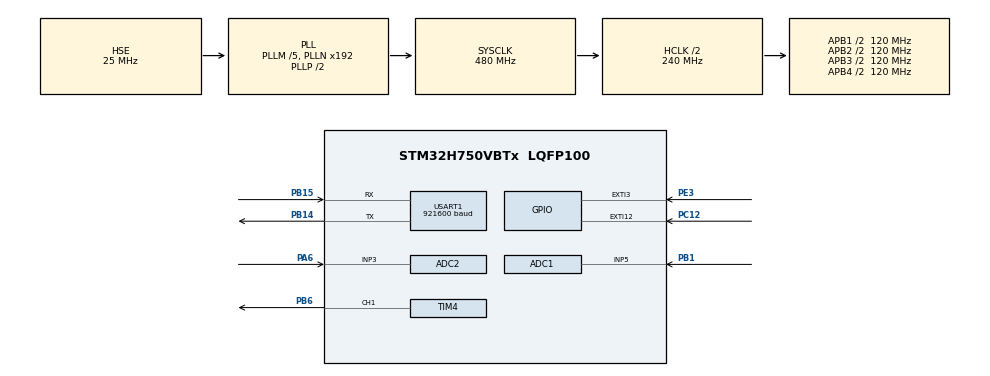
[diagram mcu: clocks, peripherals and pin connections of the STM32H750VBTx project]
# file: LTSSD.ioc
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ADC1.Channel-0\#ChannelRegularConversion=ADC_CHANNEL_5
ADC1.ClockPrescaler=ADC_CLOCK_ASYNC_DIV1
ADC1.ContinuousConvMode=ENABLE
ADC1.ConversionDataManagement=ADC_CONVERSIONDATA_DMA_ONESHOT
ADC1.EOCSelection=ADC_EOC_SEQ_CONV
ADC1.Mode=ADC_MODE_INDEPENDENT
ADC1.NbrOfConversionFlag=1
ADC1.OffsetNumber-0\#ChannelRegularConversion=ADC_OFFSET_NONE
ADC1.OffsetSignedSaturation-0\#ChannelRegularConversion=DISABLE
ADC1.Overrun=ADC_OVR_DATA_OVERWRITTEN
ADC1.Rank-0\#ChannelRegularConversion=1
ADC1.SamplingTime-0\#ChannelRegularConversion=ADC_SAMPLETIME_1CYCLE_5
ADC1.master=1
ADC2.Channel-0\#ChannelRegularConversion=ADC_CHANNEL_3
ADC2.ContinuousConvMode=ENABLE
ADC2.ConversionDataManagement=ADC_CONVERSIONDATA_DMA_ONESHOT
ADC2.NbrOfConversionFlag=1
ADC2.OffsetNumber-0\#ChannelRegularConversion=ADC_OFFSET_NONE
ADC2.OffsetSignedSaturation-0\#ChannelRegularConversion=DISABLE
ADC2.Rank-0\#ChannelRegularConversion=1
ADC2.SamplingTime-0\#ChannelRegularConversion=ADC_SAMPLETIME_1CYCLE_5
Dma.ADC1.0.Direction=DMA_PERIPH_TO_MEMORY
Dma.ADC1.0.EventEnable=DISABLE
Dma.ADC1.0.FIFOMode=DMA_FIFOMODE_DISABLE
Dma.ADC1.0.Instance=DMA1_Stream0
Dma.ADC1.0.MemDataAlignment=DMA_MDATAALIGN_WORD
Dma.ADC1.0.MemInc=DMA_MINC_ENABLE
Dma.ADC1.0.Mode=DMA_NORMAL
Dma.ADC1.0.PeriphDataAlignment=DMA_PDATAALIGN_WORD
Dma.ADC1.0.PeriphInc=DMA_PINC_DISABLE
Dma.ADC1.0.Polarity=HAL_DMAMUX_REQ_GEN_RISING
Dma.ADC1.0.Priority=DMA_PRIORITY_LOW
Dma.ADC1.0.RequestNumber=1
Dma.ADC1.0.SignalID=NONE
Dma.ADC1.0.SyncEnable=DISABLE
Dma.ADC1.0.SyncPolarity=HAL_DMAMUX_SYNC_NO_EVENT
Dma.ADC1.0.SyncRequestNumber=1
Dma.ADC1.0.SyncSignalID=NONE
Dma.ADC2.1.Direction=DMA_PERIPH_TO_MEMORY
Dma.ADC2.1.EventEnable=DISABLE
Dma.ADC2.1.FIFOMode=DMA_FIFOMODE_DISABLE
Dma.ADC2.1.Instance=DMA1_Stream1
Dma.ADC2.1.MemDataAlignment=DMA_MDATAALIGN_WORD
Dma.ADC2.1.MemInc=DMA_MINC_ENABLE
Dma.ADC2.1.Mode=DMA_NORMAL
Dma.ADC2.1.PeriphDataAlignment=DMA_PDATAALIGN_WORD
Dma.ADC2.1.PeriphInc=DMA_PINC_DISABLE
Dma.ADC2.1.Polarity=HAL_DMAMUX_REQ_GEN_RISING
Dma.ADC2.1.Priority=DMA_PRIORITY_LOW
Dma.ADC2.1.RequestNumber=1
Dma.ADC2.1.SignalID=NONE
Dma.ADC2.1.SyncEnable=DISABLE
Dma.ADC2.1.SyncPolarity=HAL_DMAMUX_SYNC_NO_EVENT
Dma.ADC2.1.SyncRequestNumber=1
Dma.ADC2.1.SyncSignalID=NONE
Dma.Request0=ADC1
Dma.Request1=ADC2
LPTIM1.ClockPrescaler=LPTIM_PRESCALER_DIV128
LPTIM2.ClockPrescaler=LPTIM_PRESCALER_DIV128
Mcu.Family=STM32H7
Mcu.Name=STM32H750VBTx
Mcu.Package=LQFP100
NVIC.DMA1_Stream0_IRQn=true\:0\:0\:true\:false\:true\:false\:true
NVIC.DMA1_Stream1_IRQn=true\:0\:0\:false\:false\:true\:false\:true
NVIC.EXTI15_10_IRQn=true\:14\:0\:true\:false\:true\:true\:true
NVIC.EXTI3_IRQn=true\:14\:0\:true\:false\:true\:true\:true
NVIC.LPTIM1_IRQn=true\:10\:0\:true\:false\:true\:true\:true
NVIC.LPTIM2_IRQn=true\:13\:0\:true\:false\:true\:true\:true
NVIC.PriorityGroup=NVIC_PRIORITYGROUP_4
PA6.Signal=ADCx_INP3
PB1.Signal=ADCx_INP5
PB14.Mode=Asynchronous
PB14.Signal=USART1_TX
PB15.Mode=Asynchronous
PB15.Signal=USART1_RX
PB6.Signal=S_TIM4_CH1
PC12.Signal=GPXTI12
PE3.Signal=GPXTI3
PH0-OSC_IN\ (PH0).Mode=HSE-External-Oscillator
PH0-OSC_IN\ (PH0).Signal=RCC_OSC_IN
PH1-OSC_OUT\ (PH1).Mode=HSE-External-Oscillator
PH1-OSC_OUT\ (PH1).Signal=RCC_OSC_OUT
ProjectManager.HeapSize=0x1000
ProjectManager.StackSize=0x20000
ProjectManager.TargetToolchain=MDK-ARM V5
RCC.ADCCLockSelection=RCC_ADCCLKSOURCE_PLL3
RCC.ADCFreq_Value=51200000
RCC.APB1Freq_Value=120000000
RCC.APB2Freq_Value=120000000
RCC.APB3Freq_Value=120000000
RCC.APB4Freq_Value=120000000
RCC.CKPERSourceSelection=RCC_CLKPSOURCE_CSI
RCC.CortexFreq_Value=480000000
RCC.D1PPRE=RCC_APB3_DIV2
RCC.D2PPRE1=RCC_APB1_DIV2
RCC.D2PPRE2=RCC_APB2_DIV2
RCC.D3PPRE=RCC_APB4_DIV2
RCC.DIVM1=5
RCC.DIVM2=25
RCC.DIVM3=25
RCC.DIVN1=192
RCC.DIVN2=240
RCC.DIVN3=256
RCC.DIVP3=10
RCC.DIVQ3=10
RCC.DIVR3=5
RCC.HCLKFreq_Value=240000000
RCC.HPRE=RCC_HCLK_DIV2
RCC.HRTIMCLockSelection=RCC_HRTIM1CLK_CPUCLK
RCC.LPTIM1CLockSelection=RCC_LPTIM1CLKSOURCE_CLKP
RCC.PLL2FRACN=0
RCC.PLL3FRACN=0
RCC.PLLFRACN=0
RCC.PLLSourceVirtual=RCC_PLLSOURCE_HSE
RCC.SPI123CLockSelection=RCC_SPI123CLKSOURCE_PLL2
RCC.SYSCLKFreq_VALUE=480000000
RCC.SYSCLKSource=RCC_SYSCLKSOURCE_PLLCLK
RCC.USBFreq_Value=480000000
SH.ADCx_INP3.0=ADC2_INP3,IN3-Single-Ended
SH.ADCx_INP5.0=ADC1_INP5,IN5-Single-Ended
SH.S_TIM4_CH1.0=TIM4_CH1,PWM Generation1 CH1
TIM4.Channel-PWM\ Generation1\ CH1=TIM_CHANNEL_1
TIM4.Prescaler=239
USART1.BaudRate=921600
USART1.Mode=MODE_TX
USART1.VirtualMode-Asynchronous=VM_ASYNC
VP_LPTIM1_VS_LPTIM_counterModeInternalClock.Mode=Counts__internal_clock_event_00
VP_LPTIM2_VS_LPTIM_counterModeInternalClock.Mode=Counts__internal_clock_event_00
VP_TIM4_VS_ClockSourceINT.Mode=Internal
VP_VREFBUF_V_VREFBUF.Mode=ExternalMode
board=custom

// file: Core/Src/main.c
/* USER CODE BEGIN Header */
/**
  ******************************************************************************
  * @file           : main.c
  * @brief          : Main program body
  ******************************************************************************
  * @attention
  *
  * <h2><center>&copy; Copyright (c) 2023 STMicroelectronics.
  * All rights reserved.</center></h2>
  *
  * This software component is licensed by ST under BSD 3-Clause license,
  * the "License"; You may not use this file except in compliance with the
  * License. You may obtain a copy of the License at:
  *                        opensource.org/licenses/BSD-3-Clause
  *
  ******************************************************************************
  */
/* USER CODE END Header */
#include "main.h"
#include "adc.h"
#include "dma.h"
#include "lptim.h"
#include "tim.h"
#include "usart.h"
#include "gpio.h"

/* USER CODE BEGIN Includes */
#include "string.h"
#include "fft.h"
#include <stdlib.h>
#include "AD9958.h"
#include "debug.h"
#include <math.h>
#include "LT.h"
/* USER CODE END Includes */

/* USER CODE BEGIN PTD */
#define ADC_DATA_LENGTH 1024
uint32_t g_adc1_dma_data1[ADC_DATA_LENGTH];//定义adc1采集数据存放数组
volatile uint8_t g_adc1_dma_complete_flag = 0;	//adc1数据dma采集完成标志，在dma采集完成
uint32_t g_adc2_dma_data1[ADC_DATA_LENGTH];//定义adc1采集数据存放数组
volatile uint8_t g_adc2_dma_complete_flag = 0;	//adc1数据dma采集完成标志，在dma采集完成
float dataR[1024] = {0};
float dataI[1024] = {0};
float datafR[1024] = {0};
float datafI[1024] = {0};
int offset = 0;
int offset_ = 0;
int phase = 0;
int GP = 0;
volatile uint8_t adjust_flag = 1;
/* USER CODE END PTD */

void SystemClock_Config(void);
void PeriphCommonClock_Config(void);

/* USER CODE BEGIN 0 */
void ADC_fft_collect(void)
{
    uint32_t i = 0;
    adjust_flag = 0;
    HAL_Delay(20);
		memset(g_adc1_dma_data1,0,ADC_DATA_LENGTH * 4);//清除数据
		while((g_adc1_dma_data1[0]&0x0000ffff) == 0){
		HAL_ADC_Start_DMA(&hadc1,g_adc1_dma_data1,ADC_DATA_LENGTH);//ADC的dma开始采集
			 while (g_adc1_dma_complete_flag == 0)
			{
			}
			 g_adc1_dma_complete_flag = 0;
		}
    for (i = 0; i < 1024; i++)
    {
        dataR[i] = ((float)(g_adc1_dma_data1[i] & 0x0000ffff) - 32768) * 3.3f / 65536;
			  printf("%f\n",dataR[i]);
    }
		memset(dataI, 0, 1024 * sizeof(float));
    kfft(dataR, dataI, 1024, 10, datafR, datafI);
		for (i = 0; i < 1024; i++)
    {
				dataR[i] = dataR[i]/1024;
				printf("%f\n",dataR[i]);
    }
		float max_value1 = -100;
		float max_value2 = -100;
		uint32_t max_index1 = 0;
		uint32_t max_index2 = 0;

		for (i = 0; i < 512; i++) {
				if (dataR[i] > max_value1) {
						max_value2 = max_value1;
						max_index2 = max_index1;
						max_value1 = dataR[i];
						max_index1 = i;
				} else if (dataR[i] > max_value2) {
						max_value2 = dataR[i];
						max_index2 = i;
				}
		}
		if (max_index1 > max_index2){
			int temp = max_index2;
			max_index2 = max_index1;
			max_index1 = temp;
		}
		if (max_value2 >0.05f){

			if ( (dataR[3*max_index1] > 0.003f) && dataR[5*max_index1] > 0.003f){
							//两个三角波
					if ( (dataR[3*max_index2] > 0.003f) && dataR[5*max_index2] > 0.003f){
						  LTset(3);
							Init_AD9958();
							AD9958_SetFrequency2Channel(20 * 2500 * max_index1,2500* 20 * max_index2);   // AD9958两个通道同时输出，单位：Hz
							AD9958_SetPhase2Channel(0, phase);     // 通道0、通道1相位调节输出，单位：度
							AD9958_SetAmp2Channel(1023, 1023); // 通道0、通道1幅值调节输出，，单位：DAC分辨率

					}
								//三角波 + 正弦
					else{
						  LTset(2);
							Init_AD9958();
							AD9958_SetFrequency2Channel(20 * 2500 * max_index1,2500* 20 * max_index2);   // AD9958两个通道同时输出，单位：Hz
							AD9958_SetPhase2Channel(0, phase);     // 通道0、通道1相位调节输出，单位：度
							AD9958_SetAmp2Channel(1023, 1023); // 通道0、通道1幅值调节输出，，单位：DAC分辨率
					}
				}
			else {
				      LTset(1);
							//正弦+ 三角
							if ( (dataR[3*max_index2] > 0.003f) && dataR[5*max_index2] > 0.003f){
							Init_AD9958();
							AD9958_SetFrequency2Channel(20 * 2500 * max_index1,2500* 20 * max_index2);   // AD9958两个通道同时输出，单位：Hz
							AD9958_SetPhase2Channel(0, phase);     // 通道0、通道1相位调节输出，单位：度
							AD9958_SetAmp2Channel(1023, 1023); // 通道0、通道1幅值调节输出，，单位：DAC分辨率
					}
							//正弦加正弦
					else{
						  LTset(0);
							Init_AD9958();
							AD9958_SetFrequency2Channel(20 * 2500 * max_index1,2500* 20 * max_index2);   // AD9958两个通道同时输出，单位：Hz
							AD9958_SetPhase2Channel(0, phase);     // 通道0、通道1相位调节输出，单位：度
							AD9958_SetAmp2Channel(1023, 1023); // 通道0、通道1幅值调节输出，，单位：DAC分辨率
					}
			}
		}
//	  printf("main.t2.txt=\"%.3f mV\"\xff\xff\xff",dataR[0]/1024);
}
void BUZZER_SetFrequency(uint16_t freq)
{
		//根据查表得到的频率值反推ARR寄存器的值，1MHz为TIM4的计数频率
		uint32_t Period = 1000000 / freq;
		//比较寄存器设为自动重载寄存器的1/2，这样占空比就是50%
		uint16_t Pulse  = Period  / 2;
    //写入TIM4的ARR寄存器
    TIM4->ARR  = Period;
    //写入TIM4的CCR1寄存器
    TIM4->CCR1 = Pulse;
}
void HAL_ADC_ConvCpltCallback(ADC_HandleTypeDef *hadc)
{
	if(hadc->Instance==ADC1)
	{
		g_adc1_dma_complete_flag = 1;//采集完成标志
		HAL_ADC_Stop_DMA(&hadc1);
	}
	else if(hadc->Instance==ADC2)
	{
		g_adc2_dma_complete_flag = 1;//采集完成标志
		HAL_ADC_Stop_DMA(&hadc2);
	}
}
void HAL_GPIO_EXTI_Callback(uint16_t GPIO_Pin)
{
		if (GPIO_Pin == GPIO_PIN_3)
		{
			GP = 3;
		}
	if (GPIO_Pin == GPIO_PIN_12)
		{
			GP = 12;
		}
	HAL_LPTIM_Counter_Start_IT(&hlptim2,800);  //启动LPTIM1计数和其中断
}
void HAL_LPTIM_AutoReloadMatchCallback(LPTIM_HandleTypeDef *hlptim)
{
	HAL_LPTIM_Counter_Stop_IT(hlptim);  //停止LPTIM1计数和其中断
	if (hlptim == &hlptim2){
		if (GP == 12)
		{
		 	 BUZZER_SetFrequency(1000);
			__HAL_LPTIM_AUTORELOAD_SET(&hlptim1,3905);
			BUZZER_SetFrequency(262);
			HAL_TIM_PWM_Start(&htim4,TIM_CHANNEL_1);
			HAL_Delay(200);
			HAL_TIM_PWM_Stop(&htim4,TIM_CHANNEL_1);
			ADC_fft_collect();
			GP = 0;
		}
		if (GP == 3)
		{
		  phase = (phase + 5) % 180;
			AD9958_SetPhase2Channel(0, phase);     // 通道0、通道1相位调节输出，单位：度
			AD9958_SetAmp2Channel(1023, 1023); // 通道0、通道1幅值调节输出，，单位：DAC分辨率
			GP = 0;
		}
	}
}
/* USER CODE END 0 */

int main(void)
{

  /* MCU Configuration--------------------------------------------------------*/

  /* Reset of all peripherals, Initializes the Flash interface and the Systick. */
  HAL_Init();

  /* Configure the system clock */
  SystemClock_Config();

/* Configure the peripherals common clocks */
  PeriphCommonClock_Config();

  /* USER CODE BEGIN SysInit */
  HAL_NVIC_SetPriority(SysTick_IRQn,1,0);
  /* USER CODE END SysInit */

  /* Initialize all configured peripherals */
  MX_GPIO_Init();
  MX_DMA_Init();
  MX_ADC1_Init();
  MX_USART1_UART_Init();
  MX_LPTIM1_Init();
  MX_LPTIM2_Init();
  MX_TIM4_Init();
  MX_ADC2_Init();
  /* USER CODE BEGIN 2 */
	//开始输出PWM信号
	HAL_TIM_PWM_Start(&htim4, TIM_CHANNEL_1);
	//使能LPTIM1中断
	HAL_LPTIM_Counter_Start_IT(&hlptim1,3905);
	LT_Init();
  /* USER CODE END 2 */

  /* Infinite loop */
  /* USER CODE BEGIN WHILE */
	while (1){
		 if(adjust_flag){
			HAL_ADC_Start_DMA(&hadc2,g_adc2_dma_data1,ADC_DATA_LENGTH);
			while(g_adc2_dma_complete_flag == 0){}
			g_adc2_dma_complete_flag = 0;
			uint32_t i;
			for (i = 0; i < 1024; i++)
			{
					dataR[i] = ((float)(g_adc2_dma_data1[i] & 0x0000ffff)) * 3.3f / 65536;
			}
			memset(dataI, 0, 1024 * sizeof(float));
			kfft(dataR, dataI, 1024, 10, datafR, datafI);
			offset_ = dataR[0] / 1024 / 3.3f  * 600.0f - 200.0f;

			printf("%d\n",offset);
			memset(dataR, 0 , ADC_DATA_LENGTH * sizeof(float));//清除数据
			if (offset_ != offset){
				offset = offset_;
				Init_AD9958();
				AD9958_SetPhase2Channel(0,0);
				AD9958_SetFrequency2Channel(1000000,2000000);
				AD9958_SetAmp2Channel(1023,1023);
			}
			HAL_Delay(500);

		}
 }
    /* USER CODE END WHILE */

}

void SystemClock_Config(void)
{
  RCC_OscInitTypeDef RCC_OscInitStruct = {0};
  RCC_ClkInitTypeDef RCC_ClkInitStruct = {0};

  /** Supply configuration update enable
  */
  HAL_PWREx_ConfigSupply(PWR_LDO_SUPPLY);
  /** Configure the main internal regulator output voltage
  */
  __HAL_PWR_VOLTAGESCALING_CONFIG(PWR_REGULATOR_VOLTAGE_SCALE0);

  while(!__HAL_PWR_GET_FLAG(PWR_FLAG_VOSRDY)) {}
  /** Macro to configure the PLL clock source
  */
  __HAL_RCC_PLL_PLLSOURCE_CONFIG(RCC_PLLSOURCE_HSE);
  /** Initializes the RCC Oscillators according to the specified parameters
  * in the RCC_OscInitTypeDef structure.
  */
  RCC_OscInitStruct.OscillatorType = RCC_OSCILLATORTYPE_CSI|RCC_OSCILLATORTYPE_HSE;
  RCC_OscInitStruct.HSEState = RCC_HSE_ON;
  RCC_OscInitStruct.CSIState = RCC_CSI_ON;
  RCC_OscInitStruct.CSICalibrationValue = RCC_CSICALIBRATION_DEFAULT;
  RCC_OscInitStruct.PLL.PLLState = RCC_PLL_ON;
  RCC_OscInitStruct.PLL.PLLSource = RCC_PLLSOURCE_HSE;
  RCC_OscInitStruct.PLL.PLLM = 5;
  RCC_OscInitStruct.PLL.PLLN = 192;
  RCC_OscInitStruct.PLL.PLLP = 2;
  RCC_OscInitStruct.PLL.PLLQ = 2;
  RCC_OscInitStruct.PLL.PLLR = 2;
  RCC_OscInitStruct.PLL.PLLRGE = RCC_PLL1VCIRANGE_2;
  RCC_OscInitStruct.PLL.PLLVCOSEL = RCC_PLL1VCOWIDE;
  RCC_OscInitStruct.PLL.PLLFRACN = 0;
  if (HAL_RCC_OscConfig(&RCC_OscInitStruct) != HAL_OK)
  {
    Error_Handler();
  }
  /** Initializes the CPU, AHB and APB buses clocks
  */
  RCC_ClkInitStruct.ClockType = RCC_CLOCKTYPE_HCLK|RCC_CLOCKTYPE_SYSCLK
                              |RCC_CLOCKTYPE_PCLK1|RCC_CLOCKTYPE_PCLK2
                              |RCC_CLOCKTYPE_D3PCLK1|RCC_CLOCKTYPE_D1PCLK1;
  RCC_ClkInitStruct.SYSCLKSource = RCC_SYSCLKSOURCE_PLLCLK;
  RCC_ClkInitStruct.SYSCLKDivider = RCC_SYSCLK_DIV1;
  RCC_ClkInitStruct.AHBCLKDivider = RCC_HCLK_DIV2;
  RCC_ClkInitStruct.APB3CLKDivider = RCC_APB3_DIV2;
  RCC_ClkInitStruct.APB1CLKDivider = RCC_APB1_DIV2;
  RCC_ClkInitStruct.APB2CLKDivider = RCC_APB2_DIV2;
  RCC_ClkInitStruct.APB4CLKDivider = RCC_APB4_DIV2;

  if (HAL_RCC_ClockConfig(&RCC_ClkInitStruct, FLASH_LATENCY_4) != HAL_OK)
  {
    Error_Handler();
  }
}

void PeriphCommonClock_Config(void)
{
  RCC_PeriphCLKInitTypeDef PeriphClkInitStruct = {0};

  /** Initializes the peripherals clock
  */
  PeriphClkInitStruct.PeriphClockSelection = RCC_PERIPHCLK_ADC|RCC_PERIPHCLK_CKPER;
  PeriphClkInitStruct.PLL3.PLL3M = 25;
  PeriphClkInitStruct.PLL3.PLL3N = 256;
  PeriphClkInitStruct.PLL3.PLL3P = 10;
  PeriphClkInitStruct.PLL3.PLL3Q = 10;
  PeriphClkInitStruct.PLL3.PLL3R = 5;
  PeriphClkInitStruct.PLL3.PLL3RGE = RCC_PLL3VCIRANGE_0;
  PeriphClkInitStruct.PLL3.PLL3VCOSEL = RCC_PLL3VCOWIDE;
  PeriphClkInitStruct.PLL3.PLL3FRACN = 0;
  PeriphClkInitStruct.CkperClockSelection = RCC_CLKPSOURCE_CSI;
  PeriphClkInitStruct.AdcClockSelection = RCC_ADCCLKSOURCE_PLL3;
  if (HAL_RCCEx_PeriphCLKConfig(&PeriphClkInitStruct) != HAL_OK)
  {
    Error_Handler();
  }
}

void Error_Handler(void)
{
  __disable_irq();
  while (1)
  {
  }
}

/************************ (C) COPYRIGHT STMicroelectronics *****END OF FILE****/
